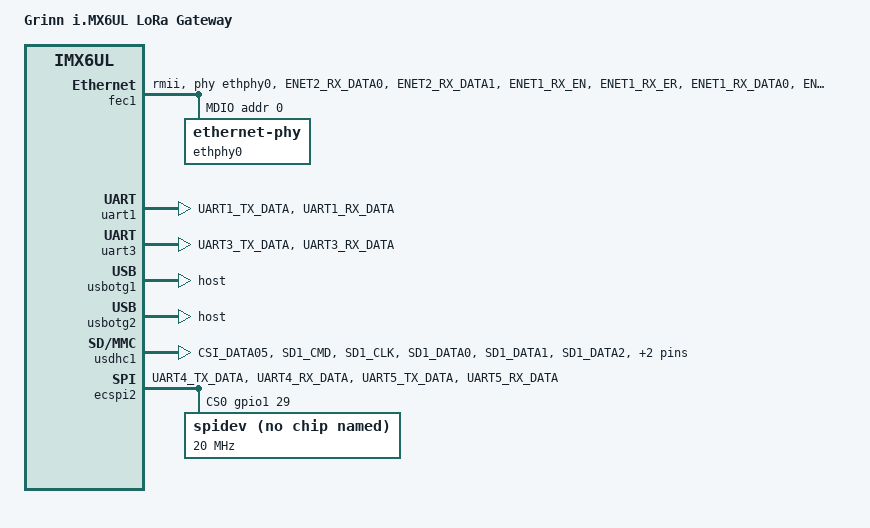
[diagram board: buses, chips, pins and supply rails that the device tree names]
/*
 * Copyright 2018 Grinn
 *
 * Author: Michal Mironiski <m.mironiski@grinn-global.com>
 *
 * This file is dual-licensed: you can use it either under the terms
 * of the GPL or the X11 license, at your option. Note that this dual
 * licensing only applies to this file, and not this project as a
 * whole.
 *
 *  a) This file is free software; you can redistribute it and/or
 *     modify it under the terms of the GNU General Public License
 *     version 2 as published by the Free Software Foundation.
 *
 *     This file is distributed in the hope that it will be useful,
 *     but WITHOUT ANY WARRANTY; without even the implied warranty of
 *     MERCHANTABILITY or FITNESS FOR A PARTICULAR PURPOSE.  See the
 *     GNU General Public License for more details.
 *
 * Or, alternatively,
 *
 *  b) Permission is hereby granted, free of charge, to any person
 *     obtaining a copy of this software and associated documentation
 *     files (the "Software"), to deal in the Software without
 *     restriction, including without limitation the rights to use,
 *     copy, modify, merge, publish, distribute, sublicense, and/or
 *     sell copies of the Software, and to permit persons to whom the
 *     Software is furnished to do so, subject to the following
 *     conditions:
 *
 *     The above copyright notice and this permission notice shall be
 *     included in all copies or substantial portions of the Software.
 *
 *     THE SOFTWARE IS PROVIDED "AS IS", WITHOUT WARRANTY OF ANY KIND,
 *     EXPRESS OR IMPLIED, INCLUDING BUT NOT LIMITED TO THE WARRANTIES
 *     OF MERCHANTABILITY, FITNESS FOR A PARTICULAR PURPOSE AND
 *     NONINFRINGEMENT. IN NO EVENT SHALL THE AUTHORS OR COPYRIGHT
 *     HOLDERS BE LIABLE FOR ANY CLAIM, DAMAGES OR OTHER LIABILITY,
 *     WHETHER IN AN ACTION OF CONTRACT, TORT OR OTHERWISE, ARISING
 *     FROM, OUT OF OR IN CONNECTION WITH THE SOFTWARE OR THE USE OR
 *     OTHER DEALINGS IN THE SOFTWARE.
 */

/dts-v1/;

#include "imx6ul-litesom.dtsi"

/ {
	model = "Grinn i.MX6UL LoRa Gateway";
	compatible = "grinn,imx6ul-liteboard", "grinn,imx6ul-litesom",
		     "fsl,imx6ul";

	chosen {
		stdout-path = &uart1;
	};
};

&gpio1 {
	gpio-line-names = "", "", "", "", "", "", "", "LR_RESET", "", "GPIO4",
			"", "", "", "", "", "", "", "", "", "",
			"", "", "", "", "", "", "", "", "", "",
			"", "";

	pinctrl-names = "default";
	pinctrl-0 = <&pinctrl_gpio1>;
};

&gpio2 {
	gpio-line-names = "", "", "", "", "", "", "", "", "", "",
			"", "4G_ON_OFF", "4G_PWR_EN", "", "", "", "", "", "", "",
			"", "", "", "", "", "", "", "", "", "",
			"", "";

	pinctrl-names = "default";
	pinctrl-0 = <&pinctrl_gpio2>;
};

&gpio5 {
	gpio-line-names = "GPS_EN", "", "GPIO0", "", "GPIO1", "", "GPIO3", "", "", "GPIO2",
			"", "", "", "", "", "", "", "", "", "",
			"", "", "", "", "", "", "", "", "", "",
			"", "";

	pinctrl-names = "default";
	pinctrl-0 = <&pinctrl_gpio5>;
};

&iomuxc {
        pinctrl_gpio1: gpio1grp {
                fsl,pins = <
                        MX6UL_PAD_GPIO1_IO07__GPIO1_IO07        0x010b1
                        MX6UL_PAD_GPIO1_IO09__GPIO1_IO09        0x010b1
		>;
	};
        
        pinctrl_gpio2: gpio2grp {
                fsl,pins = <
                        MX6UL_PAD_ENET2_TX_DATA0__GPIO2_IO11    0x010b1
                        MX6UL_PAD_ENET2_TX_DATA1__GPIO2_IO12    0x010b1
		>;
	};
        
        pinctrl_gpio5: gpio5grp {
		fsl,pins = <
                        MX6UL_PAD_SNVS_TAMPER0__GPIO5_IO00      0x010b1
                        MX6UL_PAD_SNVS_TAMPER2__GPIO5_IO02      0x010b1
                        MX6UL_PAD_SNVS_TAMPER4__GPIO5_IO04      0x010b1
                        MX6UL_PAD_SNVS_TAMPER6__GPIO5_IO06      0x010b1
                        MX6UL_PAD_SNVS_TAMPER9__GPIO5_IO09      0x010b1
		>;
	};
        
	pinctrl_enet1: enet1grp {
		fsl,pins = <
			MX6UL_PAD_ENET2_RX_DATA0__ENET1_MDIO	0x1b0b0
			MX6UL_PAD_ENET2_RX_DATA1__ENET1_MDC	0x1b0b0
			MX6UL_PAD_ENET1_RX_EN__ENET1_RX_EN	0x1b0b0
			MX6UL_PAD_ENET1_RX_ER__ENET1_RX_ER	0x1b0b0
			MX6UL_PAD_ENET1_RX_DATA0__ENET1_RDATA00 0x1b0b0
			MX6UL_PAD_ENET1_RX_DATA1__ENET1_RDATA01 0x1b0b0
			MX6UL_PAD_ENET1_TX_EN__ENET1_TX_EN	0x1b0b0
			MX6UL_PAD_ENET1_TX_DATA0__ENET1_TDATA00 0x1b0b0
			MX6UL_PAD_ENET1_TX_DATA1__ENET1_TDATA01 0x1b0b0
			MX6UL_PAD_ENET1_TX_CLK__ENET1_REF_CLK1	0x4001b031
		>;
	};

	pinctrl_uart1: uart1grp {
		fsl,pins = <
			MX6UL_PAD_UART1_TX_DATA__UART1_DCE_TX	0x1b0b1
			MX6UL_PAD_UART1_RX_DATA__UART1_DCE_RX	0x1b0b1
		>;
	};

	pinctrl_uart3: uart3grp {
		fsl,pins = <
			MX6UL_PAD_UART3_TX_DATA__UART3_DCE_TX	0x1b0b1
			MX6UL_PAD_UART3_RX_DATA__UART3_DCE_RX	0x1b0b1
		>;
	};

	pinctrl_usdhc1: usdhc1grp {
		fsl,pins = <
			MX6UL_PAD_CSI_DATA05__USDHC1_CD_B	0x17059
			MX6UL_PAD_SD1_CMD__USDHC1_CMD		0x17059
			MX6UL_PAD_SD1_CLK__USDHC1_CLK		0x10071
			MX6UL_PAD_SD1_DATA0__USDHC1_DATA0	0x17059
			MX6UL_PAD_SD1_DATA1__USDHC1_DATA1	0x17059
			MX6UL_PAD_SD1_DATA2__USDHC1_DATA2	0x17059
			MX6UL_PAD_SD1_DATA3__USDHC1_DATA3	0x17059
		>;
	};
	pinctrl_ecspi2: ecspi2grp {
		fsl,pins = <
			MX6UL_PAD_UART4_TX_DATA__ECSPI2_SCLK	0x100b1
			MX6UL_PAD_UART4_RX_DATA__GPIO1_IO29	0x1f0b1
			MX6UL_PAD_UART5_TX_DATA__ECSPI2_MOSI	0x100b1
			MX6UL_PAD_UART5_RX_DATA__ECSPI2_MISO	0x100b1
		>;
	};
};

&fec1 {
	pinctrl-names = "default";
	pinctrl-0 = <&pinctrl_enet1>;
	phy-mode = "rmii";
	phy-handle = <&ethphy0>;
	phy-reset-gpios = <&gpio3 4 GPIO_ACTIVE_LOW>;
	phy-reset-post-delay = <10>;
	status = "okay";

	mdio {
		#address-cells = <1>;
		#size-cells = <0>;

		ethphy0: ethernet-phy@0 {
			reg = <0>;
		};
	};
};

&uart1 {
	pinctrl-names = "default";
	pinctrl-0 = <&pinctrl_uart1>;
	status = "okay";
};

&uart3 {
	pinctrl-names = "default";
	pinctrl-0 = <&pinctrl_uart3>;
	status = "okay";
};

&usbotg1 {
	dr_mode = "host";
	status = "okay";
};

&usbotg2 {
	dr_mode = "host";
	status = "okay";
};

&usdhc1 {
	pinctrl-names = "default";
	pinctrl-0 = <&pinctrl_usdhc1>;
	cd-gpios = <&gpio4 26 GPIO_ACTIVE_LOW>;
	no-1-8-v;
	keep-power-in-suspend;
	wakeup-source;
	status = "okay";
};

&ecspi2 {
	fsl,spi-num-chipselects=<1>;
	cs-gpios = <&gpio1 29 0>;
	pinctrl-names = "default";
	pinctrl-0 = <&pinctrl_ecspi2>;
	status = "okay";
	spidev@0 {
		compatible = "linux,spidev";
		spi-max-frequency = <20000000>;
		reg = <0>;
	};
};
